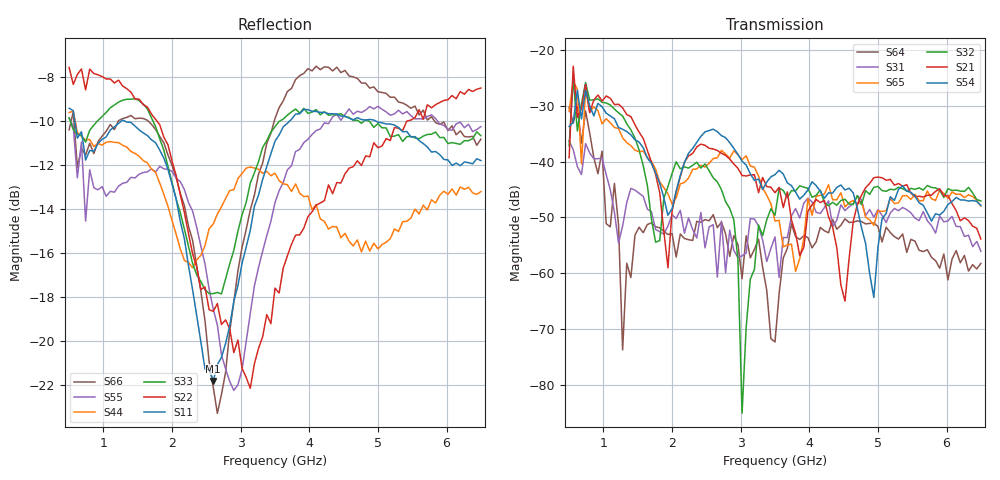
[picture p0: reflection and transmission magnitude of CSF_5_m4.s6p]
!Keysight Technologies,M9804A,MY58100912,A.14.10.03
!Date: Thursday, April 27, 2023 10:28:33
!Correction: S11(C  6-Port  )
!S12(C  6-Port  )
!S13(C  6-Port  )
!S14(C  6-Port  )
!S15(C  6-Port  )
!S16(C  6-Port  )
!S21(C  6-Port  )
!S22(C  6-Port  )
!S23(C  6-Port  )
!S24(C  6-Port  )
!S25(C  6-Port  )
!S26(C  6-Port  )
!S31(C  6-Port  )
!S32(C  6-Port  )
!S33(C  6-Port  )
!S34(C  6-Port  )
!S35(C  6-Port  )
!S36(C  6-Port  )
!S41(C  6-Port  )
!S42(C  6-Port  )
!S43(C  6-Port  )
!S44(C  6-Port  )
!S45(C  6-Port  )
!S46(C  6-Port  )
!S51(C  6-Port  )
!S52(C  6-Port  )
!S53(C  6-Port  )
!S54(C  6-Port  )
!S55(C  6-Port  )
!S56(C  6-Port  )
!S61(C  6-Port  )
!S62(C  6-Port  )
!S63(C  6-Port  )
!S64(C  6-Port  )
!S65(C  6-Port  )
!S66(C  6-Port  )
!S6P File: Measurement: :
# Hz S  RI  R 50
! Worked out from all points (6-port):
!   101 points, 500 MHz to 6.5 GHz, reference 50 ohm
!   strongest paths, dB at 500 MHz, 2 GHz, 3.5 GHz, 5 GHz, 6.5 GHz:
!     S54: -33.7, -48.4, -42.3, -55.4, -47.8
!     S21: -39.3, -48.9, -45.5, -42.7, -53.9
!     S32: -37.1, -42.1, -49.6, -44.4, -47.0
!     S65: -30.9, -47.6, -50.6, -48.8, -47.9
!     S31: -36.3, -49.5, -53.5, -48.6, -56.1
!     S64: -30.2, -52.9, -72.3, -51.6, -58.2
!   lowest |S11| = -21.8 dB at 2.6 GHz (marker M1), VSWR 1.18, Z = 42.7 + j1.9 ohm
!   |S11| at or under -10 dB: 581.6 MHz to 1.27 GHz (688.1 MHz wide, 74.3 % of centre); 1.297 GHz to 3.721 GHz (2.423 GHz wide, 96.6 % of centre); 4.956 GHz to end of sweep
